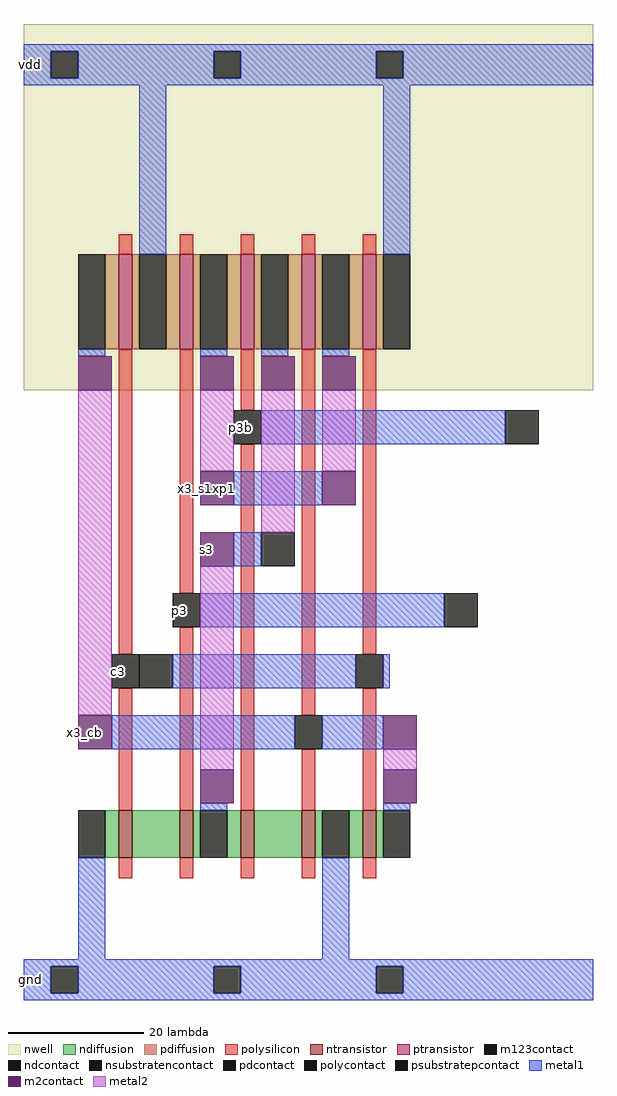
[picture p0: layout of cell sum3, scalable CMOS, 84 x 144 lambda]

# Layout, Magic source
magic
tech scmos
<< nwell >>
rect 0 90 84 144
<< ntransistor >>
rect 14 21 16 28
rect 23 21 25 28
rect 32 21 34 28
rect 41 21 43 28
rect 50 21 52 28
<< ptransistor >>
rect 14 96 16 110
rect 23 96 25 110
rect 32 96 34 110
rect 41 96 43 110
rect 50 96 52 110
<< ndiffusion >>
rect 12 21 14 28
rect 16 21 23 28
rect 25 21 26 28
rect 30 21 32 28
rect 34 21 41 28
rect 43 21 44 28
rect 48 21 50 28
rect 52 21 53 28
<< pdiffusion >>
rect 12 96 14 110
rect 16 96 17 110
rect 21 96 23 110
rect 25 96 26 110
rect 30 96 32 110
rect 34 96 35 110
rect 39 96 41 110
rect 43 96 44 110
rect 48 96 50 110
rect 52 96 53 110
<< ndcontact >>
rect 8 21 12 28
rect 26 21 30 28
rect 44 21 48 28
rect 53 21 57 28
<< pdcontact >>
rect 8 96 12 110
rect 17 96 21 110
rect 26 96 30 110
rect 35 96 39 110
rect 44 96 48 110
rect 53 96 57 110
<< psubstratepcontact >>
rect 4 1 8 5
rect 28 1 32 5
rect 52 1 56 5
<< nsubstratencontact >>
rect 4 136 8 140
rect 28 136 32 140
rect 52 136 56 140
<< polysilicon >>
rect 14 110 16 113
rect 23 110 25 113
rect 32 110 34 113
rect 41 110 43 113
rect 50 110 52 113
rect 14 51 16 96
rect 23 60 25 96
rect 32 87 34 96
rect 14 28 16 46
rect 23 28 25 55
rect 32 28 34 82
rect 41 42 43 96
rect 50 51 52 96
rect 41 28 43 37
rect 50 28 52 46
rect 14 18 16 21
rect 23 18 25 21
rect 32 18 34 21
rect 41 18 43 21
rect 50 18 52 21
<< polycontact >>
rect 31 82 35 87
rect 22 55 26 60
rect 13 46 17 51
rect 49 46 53 51
rect 40 37 44 42
<< metal1 >>
rect 0 140 84 141
rect 0 136 4 140
rect 8 136 28 140
rect 32 136 52 140
rect 56 136 84 140
rect 0 135 84 136
rect 17 110 21 135
rect 53 110 57 135
rect 8 95 12 96
rect 26 95 30 96
rect 35 95 39 96
rect 44 95 48 96
rect 35 82 71 87
rect 31 73 44 78
rect 31 64 35 69
rect 26 55 62 60
rect 22 46 49 51
rect 53 46 54 51
rect 13 37 40 42
rect 44 37 53 42
rect 26 28 30 29
rect 53 28 57 29
rect 8 6 12 21
rect 44 6 48 21
rect 0 5 84 6
rect 0 1 4 5
rect 8 1 28 5
rect 32 1 52 5
rect 56 1 84 5
rect 0 0 84 1
<< m2contact >>
rect 8 90 13 95
rect 26 90 31 95
rect 35 90 40 95
rect 44 90 49 95
rect 26 73 31 78
rect 44 73 49 78
rect 26 64 31 69
rect 8 37 13 42
rect 53 37 58 42
rect 26 29 31 34
rect 53 29 58 34
<< metal2 >>
rect 8 42 13 90
rect 26 78 31 90
rect 35 69 40 90
rect 44 78 49 90
rect 26 34 31 64
rect 53 34 58 37
<< m123contact >>
rect 71 82 76 87
rect 35 64 40 69
rect 17 46 22 51
rect 62 55 67 60
<< labels >>
rlabel metal1 13 46 15 51 0 c3
port 1 nsew
rlabel metal1 22 55 24 60 0 p3
port 2 nsew
rlabel metal1 31 82 33 87 0 p3b
port 3 nsew
rlabel m2contact 26 64 28 69 0 s3
port 4 nsew
rlabel m2contact 8 37 10 42 0 x3_cb
rlabel m2contact 26 73 28 78 0 x3_s1xp1
rlabel metal1 0 135 2 141 0 vdd
port 5 nsew
rlabel metal1 0 0 2 6 0 gnd
port 6 nsew
<< end >>
